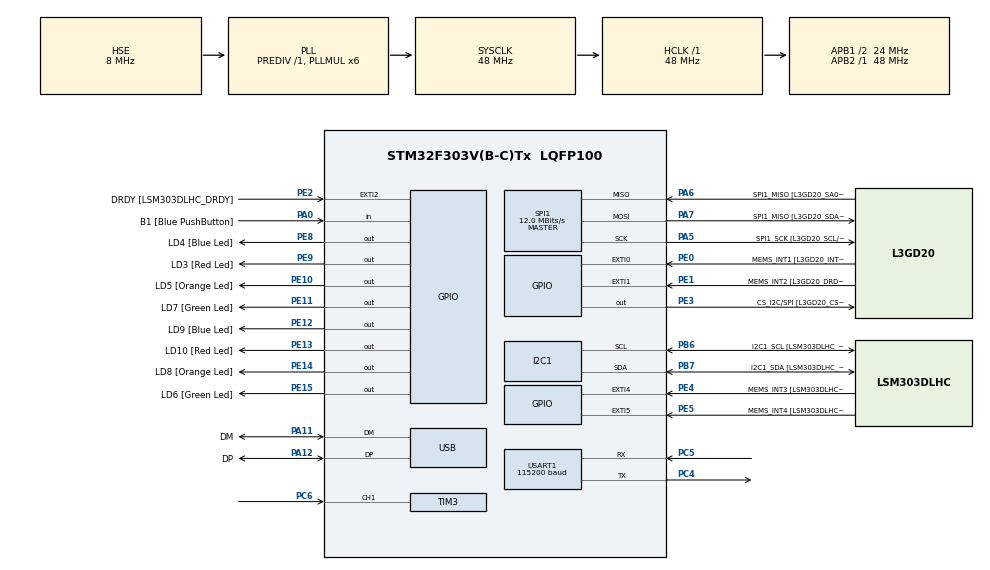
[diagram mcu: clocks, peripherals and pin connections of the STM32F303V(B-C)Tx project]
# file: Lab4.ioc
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I2C1.Timing=0x00201D2B
I2C1.Timing-I2C=0x2000090E
Mcu.Family=STM32F3
Mcu.Name=STM32F303V(B-C)Tx
Mcu.Package=LQFP100
NVIC.PriorityGroup=NVIC_PRIORITYGROUP_0
NVIC.TIM2_IRQn=true\:0\:0\:false\:false\:true\:true\:true\:true
NVIC.TIM3_IRQn=true\:0\:0\:false\:false\:true\:true\:true\:true
NVIC.USB_LP_CAN_RX0_IRQn=true\:0\:0\:false\:false\:true\:false\:true\:true
PA0.GPIO_Label=B1 [Blue PushButton]
PA0.Signal=GPIO_Input
PA11.GPIO_Label=DM
PA11.Mode=Device
PA11.Signal=USB_DM
PA12.GPIO_Label=DP
PA12.Mode=Device
PA12.Signal=USB_DP
PA13.GPIO_Label=SWDIO
PA13.Mode=Serial_Wire
PA13.Signal=SYS_JTMS-SWDIO
PA14.GPIO_Label=SWCLK
PA14.Mode=Serial_Wire
PA14.Signal=SYS_JTCK-SWCLK
PA5.GPIO_Label=SPI1_SCK [L3GD20_SCL/SPC]
PA5.Mode=Full_Duplex_Master
PA5.Signal=SPI1_SCK
PA6.GPIO_Label=SPI1_MISO [L3GD20_SA0/SDO]
PA6.Mode=Full_Duplex_Master
PA6.Signal=SPI1_MISO
PA7.GPIO_Label=SPI1_MISO [L3GD20_SDA/SDI/SDO]
PA7.Mode=Full_Duplex_Master
PA7.Signal=SPI1_MOSI
PB3.GPIO_Label=SWO
PB3.Signal=SYS_JTDO-TRACESWO
PB6.GPIO_Label=I2C1_SCL [LSM303DLHC_SCL]
PB6.GPIO_Pu=GPIO_PULLUP
PB6.Mode=I2C
PB6.Signal=I2C1_SCL
PB7.GPIO_Label=I2C1_SDA [LSM303DLHC_SDA]
PB7.GPIO_Pu=GPIO_PULLUP
PB7.Mode=I2C
PB7.Signal=I2C1_SDA
PC14-OSC32_IN.GPIO_Label=OSC32_IN
PC14-OSC32_IN.Signal=RCC_OSC32_IN
PC15-OSC32_OUT.GPIO_Label=OSC32_OUT
PC15-OSC32_OUT.Signal=RCC_OSC32_OUT
PC4.Mode=Asynchronous
PC4.Signal=USART1_TX
PC5.Mode=Asynchronous
PC5.Signal=USART1_RX
PC6.Signal=S_TIM3_CH1
PE0.GPIO_Label=MEMS_INT1 [L3GD20_INT1]
PE0.GPIO_ModeDefaultEXTI=GPIO_MODE_EVT_RISING
PE0.Signal=GPXTI0
PE1.GPIO_Label=MEMS_INT2 [L3GD20_DRDY/INT2]
PE1.GPIO_ModeDefaultEXTI=GPIO_MODE_EVT_RISING
PE1.Signal=GPXTI1
PE10.GPIO_Label=LD5 [Orange Led]
PE10.Signal=GPIO_Output
PE11.GPIO_Label=LD7 [Green Led]
PE11.Signal=GPIO_Output
PE12.GPIO_Label=LD9 [Blue Led]
PE12.Signal=GPIO_Output
PE13.GPIO_Label=LD10 [Red Led]
PE13.Signal=GPIO_Output
PE14.GPIO_Label=LD8 [Orange Led]
PE14.Signal=GPIO_Output
PE15.GPIO_Label=LD6 [Green Led]
PE15.Signal=GPIO_Output
PE2.GPIO_Label=DRDY [LSM303DLHC_DRDY]
PE2.GPIO_ModeDefaultEXTI=GPIO_MODE_EVT_RISING
PE2.Signal=GPXTI2
PE3.GPIO_Label=CS_I2C/SPI [L3GD20_CS_I2C/SPI]
PE3.Signal=GPIO_Output
PE4.GPIO_Label=MEMS_INT3 [LSM303DLHC_INT1]
PE4.GPIO_ModeDefaultEXTI=GPIO_MODE_EVT_RISING
PE4.Signal=GPXTI4
PE5.GPIO_Label=MEMS_INT4 [LSM303DLHC_INT2]
PE5.GPIO_ModeDefaultEXTI=GPIO_MODE_EVT_RISING
PE5.Signal=GPXTI5
PE8.GPIO_Label=LD4 [Blue Led]
PE8.Signal=GPIO_Output
PE9.GPIO_Label=LD3 [Red Led]
PE9.Signal=GPIO_Output
PF0-OSC_IN.GPIO_Label=OSC_IN
PF0-OSC_IN.Mode=HSE-External-Clock-Source
PF0-OSC_IN.Signal=RCC_OSC_IN
PF1-OSC_OUT.GPIO_Label=OSC_OUT
PF1-OSC_OUT.Signal=RCC_OSC_OUT
ProjectManager.HeapSize=0x200
ProjectManager.StackSize=0x400
ProjectManager.TargetToolchain=CMake
RCC.AHBFreq_Value=48000000
RCC.APB1CLKDivider=RCC_HCLK_DIV2
RCC.APB1Freq_Value=24000000
RCC.APB1TimFreq_Value=48000000
RCC.APB2Freq_Value=48000000
RCC.APB2TimFreq_Value=48000000
RCC.CortexFreq_Value=48000000
RCC.HCLKFreq_Value=48000000
RCC.HSE_VALUE=8000000
RCC.HSI_VALUE=8000000
RCC.LSE_VALUE=32768
RCC.PLLMUL=RCC_PLL_MUL6
RCC.SYSCLKFreq_VALUE=48000000
RCC.SYSCLKSourceVirtual=RCC_SYSCLKSOURCE_PLLCLK
RCC.USBFreq_Value=48000000
SH.S_TIM3_CH1.0=TIM3_CH1,Input_Capture1_from_TI1
SPI1.BaudRatePrescaler=SPI_BAUDRATEPRESCALER_4
SPI1.BaudRatePrescaler-Full_Duplex_Master=SPI_BAUDRATEPRESCALER_2
SPI1.CalculateBaudRate=12.0 MBits/s
SPI1.CalculateBaudRate-Full_Duplex_Master=24.0 MBits/s
SPI1.Direction=SPI_DIRECTION_2LINES
SPI1.Mode=SPI_MODE_MASTER
SPI1.Mode-Full_Duplex_Master=SPI_MODE_MASTER
SPI1.VirtualType=VM_MASTER
TIM2.AutoReloadPreload=TIM_AUTORELOAD_PRELOAD_ENABLE
TIM2.Period=9
TIM2.Prescaler=4799
TIM3.Channel-Input_Capture1_from_TI1=TIM_CHANNEL_1
TIM3.Prescaler=47
USART1.BaudRate=115200
USART1.VirtualMode-Asynchronous=VM_ASYNC
USB_DEVICE.CLASS_NAME_FS=CDC
USB_DEVICE.VirtualMode=Cdc
USB_DEVICE.VirtualModeFS=Cdc_FS
VP_TIM2_VS_ClockSourceINT.Mode=Internal
VP_USB_DEVICE_VS_USB_DEVICE_CDC_FS.Mode=CDC_FS
board=STM32F3DISCOVERY

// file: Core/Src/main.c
/* USER CODE BEGIN Header */
/**
  ******************************************************************************
  * @file           : main.c
  * @brief          : Main program body
  ******************************************************************************
  * @attention
  *
  * Copyright (c) 2026 STMicroelectronics.
  * All rights reserved.
  *
  * This software is licensed under terms that can be found in the LICENSE file
  * in the root directory of this software component.
  * If no LICENSE file comes with this software, it is provided AS-IS.
  *
  ******************************************************************************
  */
/* USER CODE END Header */
#include "main.h"
#include "usb_device.h"

/* USER CODE BEGIN Includes */
#include <stdio.h>
#include <stdarg.h>
#include <string.h>
/* USER CODE END Includes */

I2C_HandleTypeDef hi2c1;

SPI_HandleTypeDef hspi1;

TIM_HandleTypeDef htim2;
TIM_HandleTypeDef htim3;

UART_HandleTypeDef huart1;

void SystemClock_Config(void);
static void MX_GPIO_Init(void);
static void MX_I2C1_Init(void);
static void MX_SPI1_Init(void);
static void MX_TIM2_Init(void);
static void MX_TIM3_Init(void);
static void MX_USART1_UART_Init(void);
/* USER CODE BEGIN PFP */

uint32_t last_capture = 0, period = 0;

/* USER CODE END PFP */

/* USER CODE BEGIN 0 */

void myPrintf(const char *fmt, ...)
{
  char buffer[100];
  va_list args;
  va_start(args, fmt);
  int len = vsnprintf(buffer, sizeof(buffer), fmt, args);
  va_end(args);
  if (len > 0)
  {
    uint16_t tx_len = (len >= (int)sizeof(buffer)) ? (uint16_t)(sizeof(buffer) - 1U) : (uint16_t)len;
    HAL_UART_Transmit(&huart1, (uint8_t *)buffer, tx_len, HAL_MAX_DELAY);
  }
}

void HAL_TIM_IC_CaptureCallback(TIM_HandleTypeDef *htim)
{
  if (htim->Channel == HAL_TIM_ACTIVE_CHANNEL_1)
  {
    uint32_t current_capture = HAL_TIM_ReadCapturedValue(htim, TIM_CHANNEL_1);
    if (current_capture >= last_capture)
      period = current_capture - last_capture;
    else
      period = (65536 - last_capture) + current_capture;
    last_capture = current_capture;
  }
}

/* USER CODE END 0 */

int main(void)
{

  /* MCU Configuration--------------------------------------------------------*/

  /* Reset of all peripherals, Initializes the Flash interface and the Systick. */
  HAL_Init();

  /* Configure the system clock */
  SystemClock_Config();

  /* Initialize all configured peripherals */
  MX_GPIO_Init();
  MX_I2C1_Init();
  MX_SPI1_Init();
  MX_TIM2_Init();
  MX_TIM3_Init();
  MX_USART1_UART_Init();
  MX_USB_DEVICE_Init();
  /* USER CODE BEGIN 2 */

  HAL_TIM_IC_Start_IT(&htim3, TIM_CHANNEL_1);

  /* USER CODE END 2 */

  /* Infinite loop */
  while (1)
  {

    /* USER CODE BEGIN 3 */
    myPrintf("faaz is am");
    if (period > 0)
    {
      // float frequency = 1500000.0f / (float)period;
      // myPrintf("Period: %lu | Freq: %.2f Hz\r\n", (unsigned long)period, frequency);
    }
    HAL_Delay(500);
  }
  /* USER CODE END 3 */
}

void SystemClock_Config(void)
{
  RCC_OscInitTypeDef RCC_OscInitStruct = {0};
  RCC_ClkInitTypeDef RCC_ClkInitStruct = {0};
  RCC_PeriphCLKInitTypeDef PeriphClkInit = {0};

  /** Initializes the RCC Oscillators according to the specified parameters
  * in the RCC_OscInitTypeDef structure.
  */
  RCC_OscInitStruct.OscillatorType = RCC_OSCILLATORTYPE_HSI|RCC_OSCILLATORTYPE_HSE;
  RCC_OscInitStruct.HSEState = RCC_HSE_BYPASS;
  RCC_OscInitStruct.HSEPredivValue = RCC_HSE_PREDIV_DIV1;
  RCC_OscInitStruct.HSIState = RCC_HSI_ON;
  RCC_OscInitStruct.HSICalibrationValue = RCC_HSICALIBRATION_DEFAULT;
  RCC_OscInitStruct.PLL.PLLState = RCC_PLL_ON;
  RCC_OscInitStruct.PLL.PLLSource = RCC_PLLSOURCE_HSE;
  RCC_OscInitStruct.PLL.PLLMUL = RCC_PLL_MUL6;
  if (HAL_RCC_OscConfig(&RCC_OscInitStruct) != HAL_OK)
  {
    Error_Handler();
  }

  /** Initializes the CPU, AHB and APB buses clocks
  */
  RCC_ClkInitStruct.ClockType = RCC_CLOCKTYPE_HCLK|RCC_CLOCKTYPE_SYSCLK
                              |RCC_CLOCKTYPE_PCLK1|RCC_CLOCKTYPE_PCLK2;
  RCC_ClkInitStruct.SYSCLKSource = RCC_SYSCLKSOURCE_PLLCLK;
  RCC_ClkInitStruct.AHBCLKDivider = RCC_SYSCLK_DIV1;
  RCC_ClkInitStruct.APB1CLKDivider = RCC_HCLK_DIV2;
  RCC_ClkInitStruct.APB2CLKDivider = RCC_HCLK_DIV1;

  if (HAL_RCC_ClockConfig(&RCC_ClkInitStruct, FLASH_LATENCY_1) != HAL_OK)
  {
    Error_Handler();
  }
  PeriphClkInit.PeriphClockSelection = RCC_PERIPHCLK_USB|RCC_PERIPHCLK_USART1
                              |RCC_PERIPHCLK_I2C1;
  PeriphClkInit.Usart1ClockSelection = RCC_USART1CLKSOURCE_PCLK2;
  PeriphClkInit.I2c1ClockSelection = RCC_I2C1CLKSOURCE_HSI;
  PeriphClkInit.USBClockSelection = RCC_USBCLKSOURCE_PLL;
  if (HAL_RCCEx_PeriphCLKConfig(&PeriphClkInit) != HAL_OK)
  {
    Error_Handler();
  }
}

static void MX_I2C1_Init(void)
{

  hi2c1.Instance = I2C1;
  hi2c1.Init.Timing = 0x00201D2B;
  hi2c1.Init.OwnAddress1 = 0;
  hi2c1.Init.AddressingMode = I2C_ADDRESSINGMODE_7BIT;
  hi2c1.Init.DualAddressMode = I2C_DUALADDRESS_DISABLE;
  hi2c1.Init.OwnAddress2 = 0;
  hi2c1.Init.OwnAddress2Masks = I2C_OA2_NOMASK;
  hi2c1.Init.GeneralCallMode = I2C_GENERALCALL_DISABLE;
  hi2c1.Init.NoStretchMode = I2C_NOSTRETCH_DISABLE;
  if (HAL_I2C_Init(&hi2c1) != HAL_OK)
  {
    Error_Handler();
  }

  /** Configure Analogue filter
  */
  if (HAL_I2CEx_ConfigAnalogFilter(&hi2c1, I2C_ANALOGFILTER_ENABLE) != HAL_OK)
  {
    Error_Handler();
  }

  /** Configure Digital filter
  */
  if (HAL_I2CEx_ConfigDigitalFilter(&hi2c1, 0) != HAL_OK)
  {
    Error_Handler();
  }

}

static void MX_SPI1_Init(void)
{

  /* SPI1 parameter configuration*/
  hspi1.Instance = SPI1;
  hspi1.Init.Mode = SPI_MODE_MASTER;
  hspi1.Init.Direction = SPI_DIRECTION_2LINES;
  hspi1.Init.DataSize = SPI_DATASIZE_4BIT;
  hspi1.Init.CLKPolarity = SPI_POLARITY_LOW;
  hspi1.Init.CLKPhase = SPI_PHASE_1EDGE;
  hspi1.Init.NSS = SPI_NSS_SOFT;
  hspi1.Init.BaudRatePrescaler = SPI_BAUDRATEPRESCALER_4;
  hspi1.Init.FirstBit = SPI_FIRSTBIT_MSB;
  hspi1.Init.TIMode = SPI_TIMODE_DISABLE;
  hspi1.Init.CRCCalculation = SPI_CRCCALCULATION_DISABLE;
  hspi1.Init.CRCPolynomial = 7;
  hspi1.Init.CRCLength = SPI_CRC_LENGTH_DATASIZE;
  hspi1.Init.NSSPMode = SPI_NSS_PULSE_ENABLE;
  if (HAL_SPI_Init(&hspi1) != HAL_OK)
  {
    Error_Handler();
  }

}

static void MX_TIM2_Init(void)
{

  TIM_ClockConfigTypeDef sClockSourceConfig = {0};
  TIM_MasterConfigTypeDef sMasterConfig = {0};

  htim2.Instance = TIM2;
  htim2.Init.Prescaler = 4799;
  htim2.Init.CounterMode = TIM_COUNTERMODE_UP;
  htim2.Init.Period = 9;
  htim2.Init.ClockDivision = TIM_CLOCKDIVISION_DIV1;
  htim2.Init.AutoReloadPreload = TIM_AUTORELOAD_PRELOAD_ENABLE;
  if (HAL_TIM_Base_Init(&htim2) != HAL_OK)
  {
    Error_Handler();
  }
  sClockSourceConfig.ClockSource = TIM_CLOCKSOURCE_INTERNAL;
  if (HAL_TIM_ConfigClockSource(&htim2, &sClockSourceConfig) != HAL_OK)
  {
    Error_Handler();
  }
  sMasterConfig.MasterOutputTrigger = TIM_TRGO_RESET;
  sMasterConfig.MasterSlaveMode = TIM_MASTERSLAVEMODE_DISABLE;
  if (HAL_TIMEx_MasterConfigSynchronization(&htim2, &sMasterConfig) != HAL_OK)
  {
    Error_Handler();
  }

}

static void MX_TIM3_Init(void)
{

  TIM_MasterConfigTypeDef sMasterConfig = {0};
  TIM_IC_InitTypeDef sConfigIC = {0};

  htim3.Instance = TIM3;
  htim3.Init.Prescaler = 47;
  htim3.Init.CounterMode = TIM_COUNTERMODE_UP;
  htim3.Init.Period = 65535;
  htim3.Init.ClockDivision = TIM_CLOCKDIVISION_DIV1;
  htim3.Init.AutoReloadPreload = TIM_AUTORELOAD_PRELOAD_DISABLE;
  if (HAL_TIM_IC_Init(&htim3) != HAL_OK)
  {
    Error_Handler();
  }
  sMasterConfig.MasterOutputTrigger = TIM_TRGO_RESET;
  sMasterConfig.MasterSlaveMode = TIM_MASTERSLAVEMODE_DISABLE;
  if (HAL_TIMEx_MasterConfigSynchronization(&htim3, &sMasterConfig) != HAL_OK)
  {
    Error_Handler();
  }
  sConfigIC.ICPolarity = TIM_INPUTCHANNELPOLARITY_RISING;
  sConfigIC.ICSelection = TIM_ICSELECTION_DIRECTTI;
  sConfigIC.ICPrescaler = TIM_ICPSC_DIV1;
  sConfigIC.ICFilter = 0;
  if (HAL_TIM_IC_ConfigChannel(&htim3, &sConfigIC, TIM_CHANNEL_1) != HAL_OK)
  {
    Error_Handler();
  }

}

static void MX_USART1_UART_Init(void)
{

  huart1.Instance = USART1;
  huart1.Init.BaudRate = 115200;
  huart1.Init.WordLength = UART_WORDLENGTH_8B;
  huart1.Init.StopBits = UART_STOPBITS_1;
  huart1.Init.Parity = UART_PARITY_NONE;
  huart1.Init.Mode = UART_MODE_TX_RX;
  huart1.Init.HwFlowCtl = UART_HWCONTROL_NONE;
  huart1.Init.OverSampling = UART_OVERSAMPLING_16;
  huart1.Init.OneBitSampling = UART_ONE_BIT_SAMPLE_DISABLE;
  huart1.AdvancedInit.AdvFeatureInit = UART_ADVFEATURE_NO_INIT;
  if (HAL_UART_Init(&huart1) != HAL_OK)
  {
    Error_Handler();
  }

}

static void MX_GPIO_Init(void)
{
  GPIO_InitTypeDef GPIO_InitStruct = {0};

  /* GPIO Ports Clock Enable */
  __HAL_RCC_GPIOE_CLK_ENABLE();
  __HAL_RCC_GPIOC_CLK_ENABLE();
  __HAL_RCC_GPIOF_CLK_ENABLE();
  __HAL_RCC_GPIOA_CLK_ENABLE();
  __HAL_RCC_GPIOB_CLK_ENABLE();

  /*Configure GPIO pin Output Level */
  HAL_GPIO_WritePin(GPIOE, CS_I2C_SPI_Pin|LD4_Pin|LD3_Pin|LD5_Pin
                          |LD7_Pin|LD9_Pin|LD10_Pin|LD8_Pin
                          |LD6_Pin, GPIO_PIN_RESET);

  /*Configure GPIO pins : DRDY_Pin MEMS_INT3_Pin MEMS_INT4_Pin MEMS_INT1_Pin
                           MEMS_INT2_Pin */
  GPIO_InitStruct.Pin = DRDY_Pin|MEMS_INT3_Pin|MEMS_INT4_Pin|MEMS_INT1_Pin
                          |MEMS_INT2_Pin;
  GPIO_InitStruct.Mode = GPIO_MODE_EVT_RISING;
  GPIO_InitStruct.Pull = GPIO_NOPULL;
  HAL_GPIO_Init(GPIOE, &GPIO_InitStruct);

  /*Configure GPIO pins : CS_I2C_SPI_Pin LD4_Pin LD3_Pin LD5_Pin
                           LD7_Pin LD9_Pin LD10_Pin LD8_Pin
                           LD6_Pin */
  GPIO_InitStruct.Pin = CS_I2C_SPI_Pin|LD4_Pin|LD3_Pin|LD5_Pin
                          |LD7_Pin|LD9_Pin|LD10_Pin|LD8_Pin
                          |LD6_Pin;
  GPIO_InitStruct.Mode = GPIO_MODE_OUTPUT_PP;
  GPIO_InitStruct.Pull = GPIO_NOPULL;
  GPIO_InitStruct.Speed = GPIO_SPEED_FREQ_LOW;
  HAL_GPIO_Init(GPIOE, &GPIO_InitStruct);

  /*Configure GPIO pin : B1_Pin */
  GPIO_InitStruct.Pin = B1_Pin;
  GPIO_InitStruct.Mode = GPIO_MODE_INPUT;
  GPIO_InitStruct.Pull = GPIO_NOPULL;
  HAL_GPIO_Init(B1_GPIO_Port, &GPIO_InitStruct);

}

void Error_Handler(void)
{
  __disable_irq();
  while (1)
  {
  }
}
